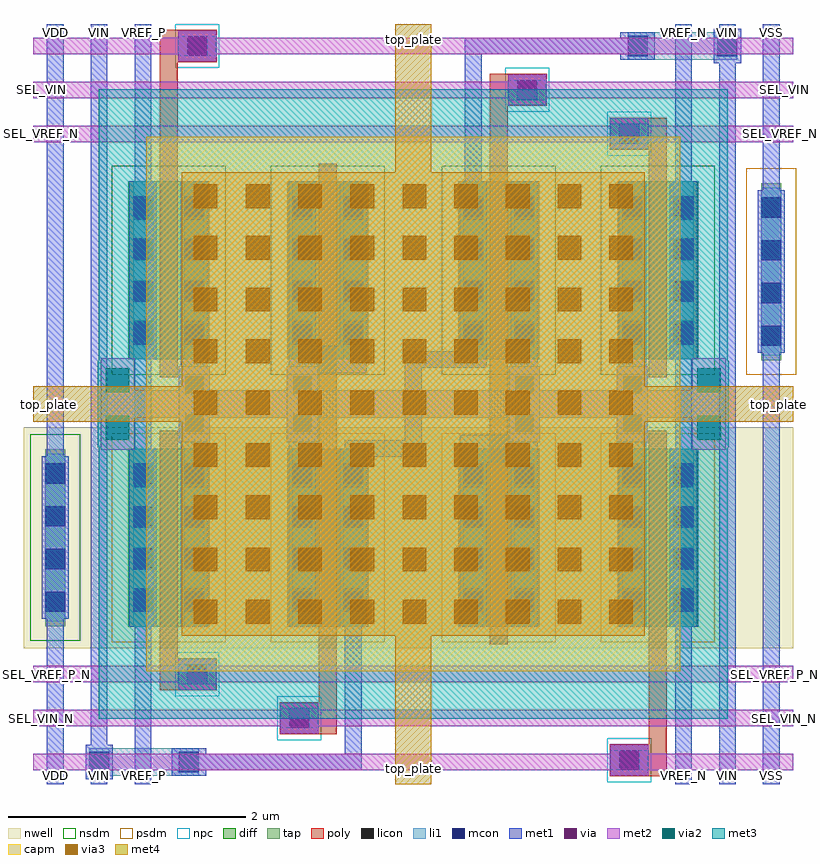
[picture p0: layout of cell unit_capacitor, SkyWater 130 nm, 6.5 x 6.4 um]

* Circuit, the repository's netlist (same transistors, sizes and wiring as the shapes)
***********************************************************
* CDL produced by pvsBuildNetlist on Jul 14 01:11:57 2026 *
***********************************************************


*pvsViewList = auCdl schematic
*pvsStopList = ("auCdl")
*pvsSimName  = auCdl



*.EXPAND_ON_M_FACTOR
*.MEGA



.subckt unit_capacitor SEL_VIN SEL_VIN_N SEL_VREF_N SEL_VREF_N_N SEL_VREF_P
+  SEL_VREF_P_N VDD VIN VREF_N VREF_P VSS top_plate
*PVSCELL netlisted from NS_SAR_Analog unit_capacitor schematic
  CC0 top_plate bottom_plate cap_mim_m3__base l=4.5u w=4.5u m=1
  MNM0 VIN SEL_VIN bottom_plate VSS nfet_01v8 M=1 L=150n W=1.5u
  MNM1 bottom_plate SEL_VIN_N bottom_plate VSS nfet_01v8 M=1 L=150n W=1.5u
  MNM2 bottom_plate SEL_VREF_P VREF_P VSS nfet_01v8 M=1 L=150n W=1.5u
  MNM3 bottom_plate SEL_VREF_N VREF_N VSS nfet_01v8 M=1 L=150n W=1.5u
  MPM0 bottom_plate SEL_VIN_N VIN VDD pfet_01v8 M=1 L=150n W=1.5u
  MPM1 bottom_plate SEL_VIN bottom_plate VDD pfet_01v8 M=1 L=150n W=1.5u
  MPM2 VREF_P SEL_VREF_P_N bottom_plate VDD pfet_01v8 M=1 L=150n W=1.5u
  MPM3 VREF_N SEL_VREF_N_N bottom_plate VDD pfet_01v8 M=1 L=150n W=1.5u
.ends unit_capacitor


***********************************************************
*             Completed at Jul 14 01:11:57 2026           *
***********************************************************

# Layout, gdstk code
from math import pi, radians
import gdstk
lib = gdstk.Library(unit=1e-6, precision=1e-09)
def R(c, l, rs):  # rectangles x0, y0, x1, y1
    for r in rs: c.add(gdstk.rectangle(r[:2], r[2:], *l))
def A(c, l, x, y, w, h, nx, ny, dx, dy):  # array of equal rectangles
    R(c, l, [(x+i*dx, y+j*dy, x+i*dx+w, y+j*dy+h) for i in range(nx) for j in range(ny)])
nwell = (64, 20)
diff = (65, 20)
tap = (65, 44)
poly = (66, 20)
licon = (66, 44)
li1 = (67, 20)
mcon = (67, 44)
met1 = (68, 20)
via = (68, 44)
met2 = (69, 20)
via2 = (69, 44)
met3 = (70, 20)
via3 = (70, 44)
met4 = (71, 20)
capm = (89, 44)
nsdm = (93, 44)
psdm = (94, 20)
npc = (95, 20)

cap_mim_m3__base__9 = lib.new_cell('cap_mim_m3__base$$9')
R(cap_mim_m3__base__9, met3, [(-0.4,-0.4,4.9,4.9)])
A(cap_mim_m3__base__9, via3, 0.4, 0.4, 0.2, 0.2, 5, 5, 0.44, 0.44)
A(cap_mim_m3__base__9, via3, 2.595, 0.4, 0.2, 0.2, 4, 5, 0.435, 0.44)
A(cap_mim_m3__base__9, via3, 0.4, 2.595, 0.2, 0.2, 5, 4, 0.44, 0.435)
A(cap_mim_m3__base__9, via3, 2.595, 2.595, 0.2, 0.2, 4, 4, 0.435, 0.435)
R(cap_mim_m3__base__9, met4, [(0.3,0.3,4.2,4.2)])
R(cap_mim_m3__base__9, capm, [(0,0,4.5,4.5)])
cap_mim_m3__base__9.add(gdstk.Label('MINUS', (2.25,2.25), layer=70, texttype=20))
cap_mim_m3__base__9.add(gdstk.Label('PLUS', (2.25,2.25), layer=71, texttype=20))

nfet_01v8__10 = lib.new_cell('nfet_01v8$$10')
R(nfet_01v8__10, diff, [(-0.265,0,0,1.5), (0,0,0.15,1.5), (0.15,0,0.415,1.5)])
R(nfet_01v8__10, poly, [(0,-0.15,0.15,-0.095), (0,-0.095,0.15,0), (0,0,0.15,1.5), (0,1.5,0.15,1.595), (0,1.595,0.15,1.65)])
A(nfet_01v8__10, licon, -0.225, 0.155, 0.17, 0.17, 1, 4, 0, 0.34)
A(nfet_01v8__10, licon, 0.205, 0.155, 0.17, 0.17, 1, 4, 0, 0.34)
R(nfet_01v8__10, li1, [(-0.225,0,-0.055,1.5), (0.205,0,0.375,1.5)])
A(nfet_01v8__10, mcon, -0.225, 0.125, 0.17, 0.17, 1, 4, 0, 0.36)
A(nfet_01v8__10, mcon, 0.205, 0.125, 0.17, 0.17, 1, 4, 0, 0.36)
R(nfet_01v8__10, met1, [(-0.255,0,-0.025,1.5), (0.175,0,0.405,1.5)])
R(nfet_01v8__10, nsdm, [(-0.405,-0.13,0.555,1.63)])
nfet_01v8__10.add(gdstk.Label('D_drain_1', (0.282,0.75), layer=65, texttype=20))
nfet_01v8__10.add(gdstk.Label('S_source_0', (-0.132,0.75), layer=65, texttype=20))
nfet_01v8__10.add(gdstk.Label('G_gate_1', (0.075,-0.122), layer=66, texttype=20))
nfet_01v8__10.add(gdstk.Label('G_gate_1', (0.075,1.622), layer=66, texttype=20))
nfet_01v8__10.add(gdstk.Label('D_drain_1', (0.29,0.75), layer=68, texttype=20))
nfet_01v8__10.add(gdstk.Label('S_source_0', (-0.14,0.75), layer=68, texttype=20))

pfet_01v8__11 = lib.new_cell('pfet_01v8$$11')
R(pfet_01v8__11, nwell, [(-0.445,-0.18,0.595,1.68)])
R(pfet_01v8__11, diff, [(-0.265,0,0,1.5), (0,0,0.15,1.5), (0.15,0,0.415,1.5)])
R(pfet_01v8__11, poly, [(0,-0.15,0.15,-0.095), (0,-0.095,0.15,0), (0,0,0.15,1.5), (0,1.5,0.15,1.595), (0,1.595,0.15,1.65)])
A(pfet_01v8__11, licon, -0.225, 0.155, 0.17, 0.17, 1, 4, 0, 0.34)
A(pfet_01v8__11, licon, 0.205, 0.155, 0.17, 0.17, 1, 4, 0, 0.34)
R(pfet_01v8__11, li1, [(-0.225,0,-0.055,1.5), (0.205,0,0.375,1.5)])
A(pfet_01v8__11, mcon, -0.225, 0.125, 0.17, 0.17, 1, 4, 0, 0.36)
A(pfet_01v8__11, mcon, 0.205, 0.125, 0.17, 0.17, 1, 4, 0, 0.36)
R(pfet_01v8__11, met1, [(-0.255,0,-0.025,1.5), (0.175,0,0.405,1.5)])
R(pfet_01v8__11, psdm, [(-0.405,-0.13,0.555,1.63)])
pfet_01v8__11.add(gdstk.Label('D_drain_1', (0.282,0.75), layer=65, texttype=20))
pfet_01v8__11.add(gdstk.Label('S_source_0', (-0.132,0.75), layer=65, texttype=20))
pfet_01v8__11.add(gdstk.Label('G_gate_1', (0.075,-0.122), layer=66, texttype=20))
pfet_01v8__11.add(gdstk.Label('G_gate_1', (0.075,1.622), layer=66, texttype=20))
pfet_01v8__11.add(gdstk.Label('D_drain_1', (0.29,0.75), layer=68, texttype=20))
pfet_01v8__11.add(gdstk.Label('S_source_0', (-0.14,0.75), layer=68, texttype=20))
pfet_01v8__11.add(gdstk.Label('B', (0.075,0.75), layer=64, texttype=20))

polyconn__1 = lib.new_cell('polyConn$$1')
R(polyconn__1, poly, [(-0.135,-0.165,0.135,0.165)])
R(polyconn__1, licon, [(-0.085,-0.085,0.085,0.085)])
R(polyconn__1, li1, [(-0.085,-0.165,0.085,0.165)])
R(polyconn__1, mcon, [(-0.085,-0.085,0.085,0.085)])
R(polyconn__1, met1, [(-0.13,-0.16,0.13,0.16)])
R(polyconn__1, npc, [(-0.185,-0.185,0.185,0.185)])

m1m2_c__2 = lib.new_cell('M1M2_C$$2')
R(m1m2_c__2, met1, [(-0.13,-0.16,0.13,0.16)])
R(m1m2_c__2, via, [(-0.075,-0.075,0.075,0.075)])
R(m1m2_c__2, met2, [(-0.13,-0.16,0.13,0.16)])

l1m1_c__3 = lib.new_cell('L1M1_C$$3')
R(l1m1_c__3, li1, [(-0.085,-0.115,0.085,0.115)])
R(l1m1_c__3, mcon, [(-0.085,-0.085,0.085,0.085)])
R(l1m1_c__3, met1, [(-0.115,-0.145,0.115,0.145)])

l1m1_c__4 = lib.new_cell('L1M1_C$$4')
R(l1m1_c__4, li1, [(-0.085,-0.115,0.085,0.115)])
R(l1m1_c__4, mcon, [(-0.085,-0.085,0.085,0.085)])
R(l1m1_c__4, met1, [(-0.145,-0.115,0.145,0.115)])

nwelltap__5 = lib.new_cell('nwellTap$$5')
R(nwelltap__5, nwell, [(-0.265,-0.925,0.265,0.925)])
R(nwelltap__5, tap, [(-0.085,-0.745,0.085,0.745)])
A(nwelltap__5, licon, -0.085, -0.625, 0.17, 0.17, 1, 4, 0, 0.36)
R(nwelltap__5, li1, [(-0.085,-0.705,0.085,0.705)])
A(nwelltap__5, mcon, -0.085, -0.625, 0.17, 0.17, 1, 4, 0, 0.36)
R(nwelltap__5, met1, [(-0.115,-0.685,0.115,0.685)])
R(nwelltap__5, nsdm, [(-0.21,-0.87,0.21,0.87)])

subtap__6 = lib.new_cell('subTap$$6')
R(subtap__6, tap, [(-0.085,-0.745,0.085,0.745)])
A(subtap__6, licon, -0.085, -0.625, 0.17, 0.17, 1, 4, 0, 0.36)
R(subtap__6, li1, [(-0.085,-0.705,0.085,0.705)])
A(subtap__6, mcon, -0.085, -0.625, 0.17, 0.17, 1, 4, 0, 0.36)
R(subtap__6, met1, [(-0.115,-0.685,0.115,0.685)])
R(subtap__6, psdm, [(-0.21,-0.87,0.21,0.87)])

m1m2_c__7 = lib.new_cell('M1M2_C$$7')
R(m1m2_c__7, met1, [(-0.13,-0.32,0.13,0.32)])
R(m1m2_c__7, via, [(-0.075,-0.235,0.075,-0.085), (-0.075,0.085,0.075,0.235)])
R(m1m2_c__7, met2, [(-0.13,-0.32,0.13,0.32)])

m2m3_c__8 = lib.new_cell('M2M3_C$$8')
R(m2m3_c__8, met2, [(-0.14,-0.385,0.14,0.385)])
R(m2m3_c__8, via2, [(-0.1,-0.3,0.1,-0.1), (-0.1,0.1,0.1,0.3)])
R(m2m3_c__8, met3, [(-0.165,-0.365,0.165,0.365)])

unit_capacitor = lib.new_cell('unit_capacitor')
R(unit_capacitor, nwell, [(-0.08,1.145,6.4,3.005)])
A(unit_capacitor, met1, 0.115, 0, 0.14, 0.14, 3, 2, 0.37, 6.26)
A(unit_capacitor, met1, 5.405, 0, 0.14, 0.14, 3, 2, 0.37, 6.26)
A(unit_capacitor, met2, 0, 0.115, 0.14, 0.14, 1, 3, 0, 0.37)
A(unit_capacitor, met2, 6.26, 0.115, 0.14, 0.14, 1, 3, 0, 0.37)
A(unit_capacitor, met2, 0, 5.405, 0.14, 0.14, 1, 3, 0, 0.37)
A(unit_capacitor, met2, 6.26, 5.405, 0.14, 0.14, 1, 3, 0, 0.37)
R(unit_capacitor, met4, [(3.05,0,3.35,0.255), (0,3.05,0.255,3.35), (6.145,3.05,6.4,3.35), (3.05,6.145,3.35,6.4)])
unit_capacitor.add(gdstk.FlexPath([(3.2,0.255),(3.2,1.25)], 0.3, ends="flush", simple_path=True, layer=71, datatype=20))  # met4
unit_capacitor.add(gdstk.FlexPath([(6.145,3.2),(5.15,3.2)], 0.3, ends="flush", simple_path=True, layer=71, datatype=20))  # met4
unit_capacitor.add(gdstk.FlexPath([(3.2,6.145),(3.2,5.15)], 0.3, ends="flush", simple_path=True, layer=71, datatype=20))  # met4
unit_capacitor.add(gdstk.FlexPath([(0.255,3.2),(1.25,3.2)], 0.3, ends="flush", simple_path=True, layer=71, datatype=20))  # met4
unit_capacitor.add(gdstk.FlexPath([(5.09,6.215),(5.845,6.215)], 0.23, ends="flush", simple_path=True, layer=67, datatype=20))  # li1
unit_capacitor.add(gdstk.FlexPath([(1.31,0.185),(0.555,0.185)], 0.23, ends="flush", simple_path=True, layer=67, datatype=20))  # li1
unit_capacitor.add(gdstk.FlexPath([(3.92,2.975),(3.92,3.425)], 0.15, ends="flush", simple_path=True, layer=66, datatype=20))  # poly
unit_capacitor.add(gdstk.FlexPath([(2.48,2.975),(2.48,3.425)], 0.15, ends="flush", simple_path=True, layer=66, datatype=20))  # poly
unit_capacitor.add(gdstk.FlexPath([(5.26,5.225),(5.26,5.61)], 0.15, ends="flush", simple_path=True, layer=66, datatype=20))  # poly
unit_capacitor.add(gdstk.FlexPath([(2.48,1.175),(2.48,0.42)], 0.15, ends="flush", simple_path=True, layer=66, datatype=20))  # poly
unit_capacitor.add(gdstk.FlexPath([(1.14,5.225),(1.14,6.35)], 0.15, ends="flush", simple_path=True, layer=66, datatype=20))  # poly
unit_capacitor.add(gdstk.FlexPath([(5.26,1.175),(5.26,0.065)], 0.15, ends="flush", simple_path=True, layer=66, datatype=20))  # poly
unit_capacitor.add(gdstk.FlexPath([(3.92,5.225),(3.92,5.98)], 0.15, ends="flush", simple_path=True, layer=66, datatype=20))  # poly
unit_capacitor.add(gdstk.FlexPath([(1.14,1.175),(1.14,0.79)], 0.15, ends="flush", simple_path=True, layer=66, datatype=20))  # poly
unit_capacitor.add(gdstk.FlexPath([(2.695,0.185),(1.31,0.185)], 0.14, ends=(0.07, 0), simple_path=True, layer=68, datatype=20))  # met1
unit_capacitor.add(gdstk.FlexPath([(3.705,2.825),(4.135,2.825)], 0.23, ends="extended", simple_path=True, layer=68, datatype=20))  # met1
unit_capacitor.add(gdstk.FlexPath([(3.705,5.075),(3.705,6.215)], 0.14, ends=(0, 0.07), simple_path=True, layer=68, datatype=20))  # met1
unit_capacitor.add(gdstk.FlexPath([(0.555,0.185),(0.555,6.26)], 0.14, ends="flush", simple_path=True, layer=68, datatype=20))  # met1
unit_capacitor.add(gdstk.FlexPath([(3.705,6.215),(5.09,6.215)], 0.14, ends=(0.07, 0), simple_path=True, layer=68, datatype=20))  # met1
unit_capacitor.add(gdstk.FlexPath([(2.695,1.325),(2.695,0.185)], 0.14, ends=(0, 0.07), simple_path=True, layer=68, datatype=20))  # met1
unit_capacitor.add(gdstk.FlexPath([(2.695,2.825),(3.2,2.825)], 0.14, ends="extended", simple_path=True, layer=68, datatype=20))  # met1
unit_capacitor.add(gdstk.FlexPath([(2.695,3.575),(2.265,3.575)], 0.23, ends="extended", simple_path=True, layer=68, datatype=20))  # met1
unit_capacitor.add(gdstk.FlexPath([(2.265,3.575),(2.265,2.825)], 0.23, ends=(0.115, 0), simple_path=True, layer=68, datatype=20))  # met1
unit_capacitor.add(gdstk.FlexPath([(1.355,3.575),(1.355,2.825)], 0.23, ends="flush", simple_path=True, layer=68, datatype=20))  # met1
unit_capacitor.add(gdstk.FlexPath([(5.045,3.575),(5.045,2.825)], 0.23, ends="flush", simple_path=True, layer=68, datatype=20))  # met1
unit_capacitor.add(gdstk.FlexPath([(3.2,3.575),(3.82,3.575)], 0.14, ends=(0.07, 0), simple_path=True, layer=68, datatype=20))  # met1
unit_capacitor.add(gdstk.FlexPath([(3.2,2.825),(3.2,3.575)], 0.14, ends="extended", simple_path=True, layer=68, datatype=20))  # met1
unit_capacitor.add(gdstk.FlexPath([(4.135,2.825),(4.135,3.575)], 0.23, ends=(0.115, 0), simple_path=True, layer=68, datatype=20))  # met1
unit_capacitor.add(gdstk.FlexPath([(0.185,6.4),(0.185,0)], 0.14, ends="flush", simple_path=True, layer=68, datatype=20))  # met1
unit_capacitor.add(gdstk.FlexPath([(0.925,6.4),(0.925,0)], 0.14, ends="flush", simple_path=True, layer=68, datatype=20))  # met1
unit_capacitor.add(gdstk.FlexPath([(6.215,6.4),(6.215,0)], 0.14, ends="flush", simple_path=True, layer=68, datatype=20))  # met1
unit_capacitor.add(gdstk.FlexPath([(5.845,6.215),(5.845,0.14)], 0.14, ends="flush", simple_path=True, layer=68, datatype=20))  # met1
unit_capacitor.add(gdstk.FlexPath([(5.475,6.4),(5.475,0)], 0.14, ends="flush", simple_path=True, layer=68, datatype=20))  # met1
unit_capacitor.add(gdstk.FlexPath([(5.045,3.2),(5.685,3.2)], 0.23, ends="flush", simple_path=True, layer=69, datatype=20))  # met2
unit_capacitor.add(gdstk.FlexPath([(3.705,3.2),(5.045,3.2)], 0.23, ends="flush", simple_path=True, layer=69, datatype=20))  # met2
unit_capacitor.add(gdstk.FlexPath([(0.715,3.2),(1.355,3.2)], 0.23, ends="flush", simple_path=True, layer=69, datatype=20))  # met2
unit_capacitor.add(gdstk.FlexPath([(2.695,3.2),(3.705,3.2)], 0.23, ends="flush", simple_path=True, layer=69, datatype=20))  # met2
unit_capacitor.add(gdstk.FlexPath([(1.355,3.2),(2.695,3.2)], 0.23, ends="flush", simple_path=True, layer=69, datatype=20))  # met2
unit_capacitor.add(gdstk.FlexPath([(0,6.215),(6.4,6.215)], 0.14, ends="flush", simple_path=True, layer=69, datatype=20))  # met2
unit_capacitor.add(gdstk.FlexPath([(0,5.845),(6.4,5.845)], 0.14, ends="flush", simple_path=True, layer=69, datatype=20))  # met2
unit_capacitor.add(gdstk.FlexPath([(0,5.475),(6.4,5.475)], 0.14, ends="flush", simple_path=True, layer=69, datatype=20))  # met2
unit_capacitor.add(gdstk.FlexPath([(0,0.185),(6.4,0.185)], 0.14, ends="flush", simple_path=True, layer=69, datatype=20))  # met2
unit_capacitor.add(gdstk.FlexPath([(0,0.555),(6.4,0.555)], 0.14, ends="flush", simple_path=True, layer=69, datatype=20))  # met2
unit_capacitor.add(gdstk.FlexPath([(0,0.925),(6.4,0.925)], 0.14, ends="flush", simple_path=True, layer=69, datatype=20))  # met2
unit_capacitor.add(gdstk.Reference(cap_mim_m3__base__9, (0.95,0.95)))
unit_capacitor.add(gdstk.Reference(nfet_01v8__10, (1.065,3.575)))
unit_capacitor.add(gdstk.Reference(nfet_01v8__10, (2.405,3.575)))
unit_capacitor.add(gdstk.Reference(nfet_01v8__10, (3.995,3.575), rotation=pi, x_reflection=True))
unit_capacitor.add(gdstk.Reference(nfet_01v8__10, (5.335,3.575), rotation=pi, x_reflection=True))
unit_capacitor.add(gdstk.Reference(pfet_01v8__11, (1.215,1.325), rotation=pi, x_reflection=True))
unit_capacitor.add(gdstk.Reference(pfet_01v8__11, (3.845,1.325)))
unit_capacitor.add(gdstk.Reference(pfet_01v8__11, (2.555,1.325), rotation=pi, x_reflection=True))
unit_capacitor.add(gdstk.Reference(pfet_01v8__11, (5.185,1.325)))
unit_capacitor.add(gdstk.Reference(polyconn__1, (4.16,5.845), rotation=pi/2))
unit_capacitor.add(gdstk.Reference(polyconn__1, (2.24,0.555), rotation=pi/2))
unit_capacitor.add(gdstk.Reference(polyconn__1, (5.02,5.475), rotation=pi/2))
unit_capacitor.add(gdstk.Reference(polyconn__1, (5.02,0.2), rotation=pi/2))
unit_capacitor.add(gdstk.Reference(polyconn__1, (1.38,6.215), rotation=pi/2))
unit_capacitor.add(gdstk.Reference(polyconn__1, (1.38,0.925), rotation=pi/2))
unit_capacitor.add(gdstk.Reference(m1m2_c__2, (4.16,5.845), rotation=pi/2))
unit_capacitor.add(gdstk.Reference(m1m2_c__2, (2.24,0.555), rotation=pi/2))
unit_capacitor.add(gdstk.Reference(m1m2_c__2, (5.02,5.475), rotation=pi/2))
unit_capacitor.add(gdstk.Reference(m1m2_c__2, (5.02,0.2), rotation=pi/2))
unit_capacitor.add(gdstk.Reference(m1m2_c__2, (1.38,6.215), rotation=pi/2))
unit_capacitor.add(gdstk.Reference(m1m2_c__2, (1.38,0.925), rotation=pi/2))
unit_capacitor.add(gdstk.Reference(l1m1_c__3, (5.845,6.215)))
unit_capacitor.add(gdstk.Reference(l1m1_c__3, (0.555,0.185)))
unit_capacitor.add(gdstk.Reference(l1m1_c__4, (5.09,6.215)))
unit_capacitor.add(gdstk.Reference(l1m1_c__4, (1.31,0.185)))
unit_capacitor.add(gdstk.Reference(nwelltap__5, (0.185,2.075)))
unit_capacitor.add(gdstk.Reference(subtap__6, (6.215,4.315)))
unit_capacitor.add(gdstk.Reference(m1m2_c__7, (5.045,3.2)))
unit_capacitor.add(gdstk.Reference(m1m2_c__7, (2.265,3.2)))
unit_capacitor.add(gdstk.Reference(m1m2_c__7, (4.135,3.2)))
unit_capacitor.add(gdstk.Reference(m1m2_c__7, (1.355,3.2)))
unit_capacitor.add(gdstk.Reference(m2m3_c__8, (5.69,3.2)))
unit_capacitor.add(gdstk.Reference(m2m3_c__8, (0.71,3.2)))
unit_capacitor.add(gdstk.Label('top_plate', (3.2,0.127), layer=71, texttype=20))
unit_capacitor.add(gdstk.Label('top_plate', (6.272,3.2), layer=71, texttype=20))
unit_capacitor.add(gdstk.Label('top_plate', (0.127,3.2), layer=71, texttype=20))
unit_capacitor.add(gdstk.Label('top_plate', (3.2,6.272), layer=71, texttype=20))
unit_capacitor.add(gdstk.Label('VREF_P', (0.925,0.07), layer=68, texttype=20))
unit_capacitor.add(gdstk.Label('VIN', (0.555,0.07), layer=68, texttype=20))
unit_capacitor.add(gdstk.Label('VDD', (0.185,0.07), layer=68, texttype=20))
unit_capacitor.add(gdstk.Label('VSS', (6.215,0.07), layer=68, texttype=20))
unit_capacitor.add(gdstk.Label('VIN', (5.845,0.07), layer=68, texttype=20))
unit_capacitor.add(gdstk.Label('VREF_N', (5.475,0.07), layer=68, texttype=20))
unit_capacitor.add(gdstk.Label('VSS', (6.215,6.33), layer=68, texttype=20))
unit_capacitor.add(gdstk.Label('VIN', (5.845,6.33), layer=68, texttype=20))
unit_capacitor.add(gdstk.Label('VREF_N', (5.475,6.33), layer=68, texttype=20))
unit_capacitor.add(gdstk.Label('VREF_P', (0.925,6.33), layer=68, texttype=20))
unit_capacitor.add(gdstk.Label('VIN', (0.555,6.33), layer=68, texttype=20))
unit_capacitor.add(gdstk.Label('VDD', (0.185,6.33), layer=68, texttype=20))
unit_capacitor.add(gdstk.Label('SEL_VREF_N', (6.33,5.475), layer=69, texttype=20))
unit_capacitor.add(gdstk.Label('SEL_VIN', (6.33,5.845), layer=69, texttype=20))
unit_capacitor.add(gdstk.Label('SEL_VREF_P', (6.33,6.215), layer=69, texttype=20))
unit_capacitor.add(gdstk.Label('SEL_VREF_N_N', (6.33,0.185), layer=69, texttype=20))
unit_capacitor.add(gdstk.Label('SEL_VIN_N', (6.33,0.555), layer=69, texttype=20))
unit_capacitor.add(gdstk.Label('SEL_VREF_P_N', (6.33,0.925), layer=69, texttype=20))
unit_capacitor.add(gdstk.Label('SEL_VREF_N_N', (0.07,0.185), layer=69, texttype=20))
unit_capacitor.add(gdstk.Label('SEL_VIN_N', (0.07,0.555), layer=69, texttype=20))
unit_capacitor.add(gdstk.Label('SEL_VREF_P_N', (0.07,0.925), layer=69, texttype=20))
unit_capacitor.add(gdstk.Label('SEL_VREF_N', (0.07,5.475), layer=69, texttype=20))
unit_capacitor.add(gdstk.Label('SEL_VIN', (0.07,5.845), layer=69, texttype=20))
unit_capacitor.add(gdstk.Label('SEL_VREF_P', (0.07,6.215), layer=69, texttype=20))
unit_capacitor.add(gdstk.Label('SEL_VREF_N', (5.95,5.475), layer=69, texttype=5))
unit_capacitor.add(gdstk.Label('SEL_VIN', (6.12,5.845), layer=69, texttype=5))
unit_capacitor.add(gdstk.Label('SEL_VREF_P', (5.955,6.215), layer=69, texttype=5))
unit_capacitor.add(gdstk.Label('SEL_VREF_N_N', (5.845,0.185), layer=69, texttype=5))
unit_capacitor.add(gdstk.Label('SEL_VIN_N', (6.02,0.555), layer=69, texttype=5))
unit_capacitor.add(gdstk.Label('SEL_VREF_P_N', (5.855,0.925), layer=69, texttype=5))
unit_capacitor.add(gdstk.Label('SEL_VREF_N_N', (0.56,0.185), layer=69, texttype=5))
unit_capacitor.add(gdstk.Label('SEL_VIN_N', (0.39,0.555), layer=69, texttype=5))
unit_capacitor.add(gdstk.Label('SEL_VREF_P_N', (0.55,0.925), layer=69, texttype=5))
unit_capacitor.add(gdstk.Label('SEL_VREF_N', (0.45,5.475), layer=69, texttype=5))
unit_capacitor.add(gdstk.Label('SEL_VIN', (0.285,5.845), layer=69, texttype=5))
unit_capacitor.add(gdstk.Label('SEL_VREF_P', (0.45,6.215), layer=69, texttype=5))
unit_capacitor.add(gdstk.Label('VREF_P', (0.925,0.07), layer=68, texttype=5))
unit_capacitor.add(gdstk.Label('VIN', (0.555,0.07), layer=68, texttype=5))
unit_capacitor.add(gdstk.Label('VDD', (0.185,0.07), layer=68, texttype=5))
unit_capacitor.add(gdstk.Label('VSS', (6.215,0.07), layer=68, texttype=5))
unit_capacitor.add(gdstk.Label('VIN', (5.845,0.07), layer=68, texttype=5))
unit_capacitor.add(gdstk.Label('VREF_N', (5.475,0.07), layer=68, texttype=5))
unit_capacitor.add(gdstk.Label('VSS', (6.215,6.33), layer=68, texttype=5))
unit_capacitor.add(gdstk.Label('VIN', (5.845,6.33), layer=68, texttype=5))
unit_capacitor.add(gdstk.Label('VREF_N', (5.475,6.33), layer=68, texttype=5))
unit_capacitor.add(gdstk.Label('VREF_P', (0.925,6.33), layer=68, texttype=5))
unit_capacitor.add(gdstk.Label('VIN', (0.555,6.33), layer=68, texttype=5))
unit_capacitor.add(gdstk.Label('VDD', (0.185,6.33), layer=68, texttype=5))
unit_capacitor.add(gdstk.Label('top_plate', (3.2,0.125), layer=71, texttype=5))
unit_capacitor.add(gdstk.Label('top_plate', (6.06,3.2), layer=71, texttype=5))
unit_capacitor.add(gdstk.Label('top_plate', (0.34,3.2), layer=71, texttype=5))
unit_capacitor.add(gdstk.Label('top_plate', (3.2,6.29), layer=71, texttype=5))

lib.write_gds('unit_capacitor.gds')
